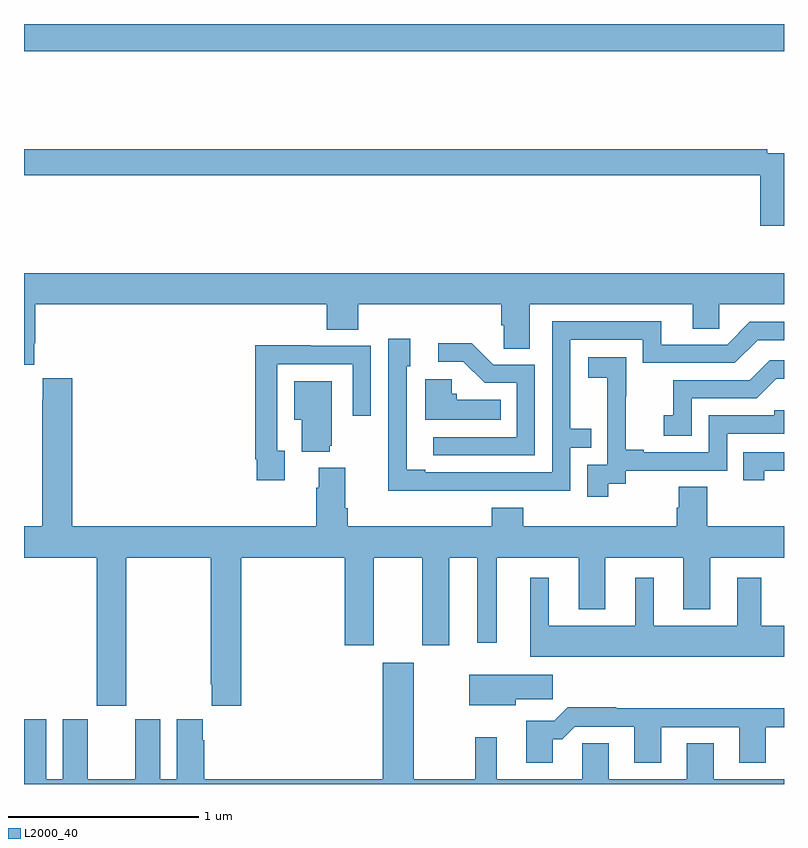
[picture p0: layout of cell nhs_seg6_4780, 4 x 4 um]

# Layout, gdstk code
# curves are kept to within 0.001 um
import gdstk
lib = gdstk.Library(unit=1e-6, precision=1e-09)
def R(c, l, rs):  # rectangles x0, y0, x1, y1
    for r in rs: c.add(gdstk.rectangle(r[:2], r[2:], *l))
def P(c, l, *ps):  # polygons
    for p in ps: c.add(gdstk.Polygon(p, *l))
L2000_40 = (2000, 40)

nhs_seg6_4780 = lib.new_cell('nhs_seg6_4780')
R(nhs_seg6_4780, L2000_40, [(395,927.356,399,927.5)])
P(nhs_seg6_4780, L2000_40, [(399,926.82),(398.912,926.82),(398.912,926.84),(395,926.84),(395,926.704),(398.876,926.704),(398.876,926.439),(399,926.439)],
  [(395.053,925.819),(395.06,925.819),(395.06,926.024),(396.593,926.024),(396.593,925.891),(396.758,925.891),(396.758,926.024),(397.511,926.024),(397.511,925.915),(397.524,925.915),(397.524,925.792),(397.663,925.792),(397.663,926.024),(398.519,926.024),(398.519,925.897),(398.658,925.897),(398.658,926.024),(399,926.024),(399,926.188),(395,926.188),(395,925.707),(395.053,925.707)],
  [(397.379,925.044),(397.875,925.044),(397.875,925.269),(397.985,925.269),(397.985,925.37),(397.875,925.37),(397.875,925.839),(398.256,925.839),(398.256,925.716),(398.742,925.716),(398.862,925.836),(399,925.836),(399,925.932),(398.82,925.932),(398.7,925.812),(398.353,925.812),(398.353,925.935),(397.779,925.935),(397.779,925.14),(397.111,925.14),(397.111,925.153),(397.014,925.153),(397.014,925.698),(397.033,925.698),(397.033,925.843),(396.918,925.843),(396.918,925.349),(396.916,925.349),(396.916,925.043)],
  [(397.689,925.707),(397.47,925.707),(397.357,925.82),(397.179,925.82),(397.179,925.722),(397.313,925.722),(397.424,925.611),(397.593,925.611),(397.593,925.326),(397.155,925.326),(397.155,925.23),(397.689,925.23)],
  [(396.373,925.254),(396.333,925.254),(396.333,925.71),(396.729,925.71),(396.729,925.437),(396.825,925.437),(396.825,925.806),(396.509,925.806),(396.509,925.808),(396.217,925.808),(396.217,925.21),(396.225,925.21),(396.225,925.098),(396.373,925.098)],
  [(398.074,925.081),(398.166,925.081),(398.166,925.149),(398.7,925.149),(398.7,925.344),(399,925.344),(399,925.467),(398.949,925.467),(398.949,925.44),(398.604,925.44),(398.604,925.245),(398.263,925.245),(398.263,925.258),(398.168,925.258),(398.168,925.541),(398.169,925.541),(398.169,925.747),(397.971,925.747),(397.971,925.637),(398.069,925.637),(398.069,925.409),(398.07,925.409),(398.07,925.179),(397.965,925.179),(397.965,925.011),(398.074,925.011)],
  [(398.514,925.53),(398.856,925.53),(398.96,925.634),(399,925.634),(399,925.731),(398.924,925.731),(398.819,925.626),(398.416,925.626),(398.416,925.441),(398.367,925.441),(398.367,925.332),(398.514,925.332)],
  [(395.538,924.692),(395.983,924.692),(395.983,924.025),(395.987,924.025),(395.987,923.913),(396.143,923.913),(396.143,924.692),(396.689,924.692),(396.689,924.231),(396.841,924.231),(396.841,924.692),(397.097,924.692),(397.097,924.231),(397.237,924.231),(397.237,924.692),(397.385,924.692),(397.385,924.243),(397.489,924.243),(397.489,924.692),(397.919,924.692),(397.919,924.419),(398.059,924.419),(398.059,924.692),(398.471,924.692),(398.471,924.419),(398.611,924.419),(398.611,924.692),(399,924.692),(399,924.856),(398.595,924.856),(398.595,925.064),(398.447,925.064),(398.447,924.954),(398.435,924.954),(398.435,924.856),(397.628,924.856),(397.628,924.955),(397.463,924.955),(397.463,924.856),(396.704,924.856),(396.704,924.952),(396.691,924.952),(396.691,925.165),(396.551,925.165),(396.551,925.058),(396.539,925.058),(396.539,924.856),(395.255,924.856),(395.255,925.636),(395.099,925.636),(395.099,925.523),(395.095,925.523),(395.095,924.856),(395,924.856),(395,924.692),(395.383,924.692),(395.383,923.913),(395.538,923.913)],
  [(397.508,925.522),(397.278,925.522),(397.278,925.554),(397.251,925.554),(397.251,925.63),(397.112,925.63),(397.112,925.418),(397.508,925.418)],
  [(396.608,925.281),(396.619,925.281),(396.619,925.621),(396.422,925.621),(396.422,925.418),(396.461,925.418),(396.461,925.25),(396.608,925.25)],
  [(398.896,925.149),(399,925.149),(399,925.245),(398.785,925.245),(398.785,925.098),(398.896,925.098)],
  [(399,924.334),(398.881,924.334),(398.881,924.586),(398.753,924.586),(398.753,924.334),(398.314,924.334),(398.314,924.586),(398.216,924.586),(398.216,924.334),(397.762,924.334),(397.762,924.586),(397.664,924.586),(397.664,924.17),(399,924.17)],
  [(399,923.524),(398.629,923.524),(398.629,923.714),(398.489,923.714),(398.489,923.524),(398.077,923.524),(398.077,923.714),(397.938,923.714),(397.938,923.524),(397.489,923.524),(397.489,923.746),(397.375,923.746),(397.375,923.524),(397.051,923.524),(397.051,924.139),(396.887,924.139),(396.887,923.524),(395.948,923.524),(395.948,923.729),(395.941,923.729),(395.941,923.842),(395.804,923.842),(395.804,923.524),(395.716,923.524),(395.716,923.842),(395.585,923.842),(395.585,923.524),(395.335,923.524),(395.335,923.842),(395.204,923.842),(395.204,923.524),(395.116,923.524),(395.116,923.842),(395,923.842),(395,923.5),(399,923.5)],
  [(397.588,923.947),(397.783,923.947),(397.783,924.076),(397.344,924.076),(397.344,923.915),(397.588,923.915)],
  [(397.783,923.735),(397.832,923.735),(397.899,923.802),(398.213,923.802),(398.213,923.613),(398.353,923.613),(398.353,923.799),(398.765,923.799),(398.765,923.613),(398.905,923.613),(398.905,923.799),(399,923.799),(399,923.9),(398.117,923.9),(398.117,923.903),(397.862,923.903),(397.792,923.833),(397.643,923.833),(397.643,923.613),(397.783,923.613)])

lib.write_gds('nhs_seg6_4780.gds')
